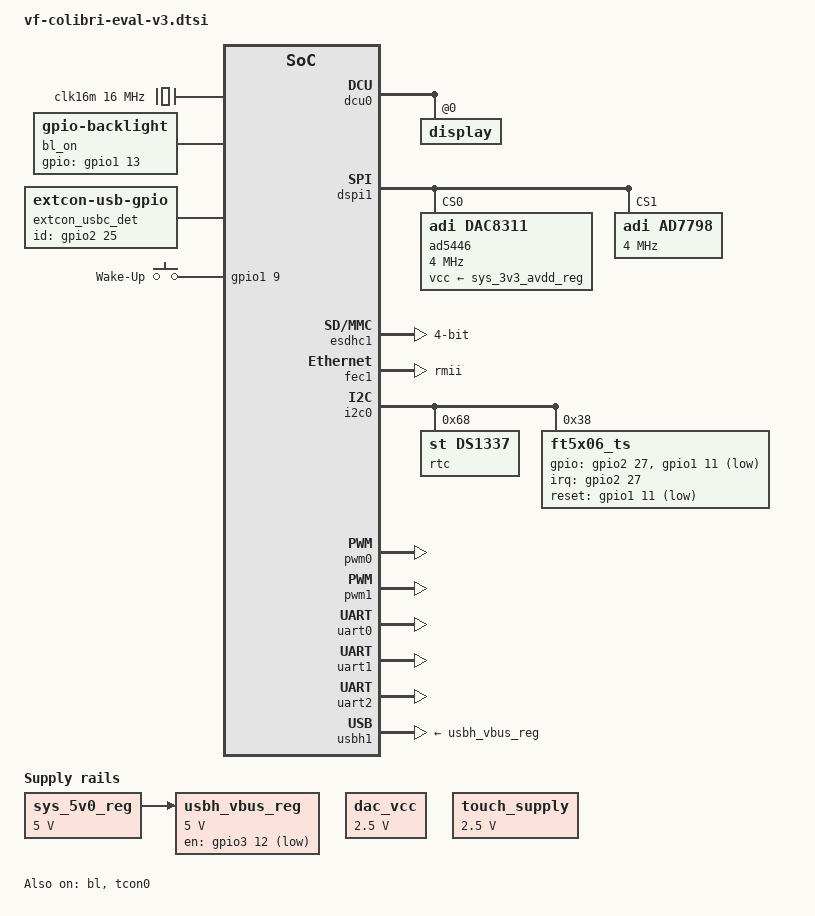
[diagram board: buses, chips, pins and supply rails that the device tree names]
/*
 * Copyright 2014-2015 Toradex AG
 *
 * This program is free software; you can redistribute it and/or modify
 * it under the terms of the GNU General Public License as published by
 * the Free Software Foundation; either version 2 of the License, or
 * (at your option) any later version.
 * last change by P Grosshart 9/25 
*/

#include <dt-bindings/input/input.h>

/ {
	chosen {
		bootargs = "console=ttyLP0,115200";
		stdout-path = "serial0:115200n8";
	};

	clk16m: clk16m {
		compatible = "fixed-clock";
		#clock-cells = <0>;
		clock-frequency = <16000000>;
	};

	bl_on {
		pinctrl-names = "default";
		pinctrl-0 = <&pinctrl_gpio_bl_on>;
		compatible = "gpio-backlight";
		gpios = <&gpio1 13 GPIO_ACTIVE_HIGH>;
		default-on;
	};

	extcon_usbc_det: usbc_det {
		compatible = "linux,extcon-usb-gpio";
		debounce = <25>;
#if 0
		id-gpio = <&gpio3 6 GPIO_ACTIVE_HIGH>;
#else		
		id-gpio = <&gpio2 25 GPIO_ACTIVE_HIGH>; /*SODIMM_133*/
#endif 	
		pinctrl-names = "default";
		/*pinctrl-0 = <&pinctrl_usbc_det>;*/
	};

	regulators {
		sys_5v0_reg: regulator@0 {
			compatible = "regulator-fixed";
			reg = <0>;
			regulator-name = "5v0";
			regulator-min-microvolt = <5000000>;
			regulator-max-microvolt = <5000000>;
			regulator-always-on;
		};

		/* USBH_PEN */
								 
		usbh_vbus_reg: regulator@1 {
#if 1
			compatible = "regulator-fixed";
			pinctrl-names = "default";
			pinctrl-0 = <&pinctrl_usbh1_reg>;
			reg = <1>;
			regulator-name = "usbh_vbus";
			regulator-min-microvolt = <5000000>;
			regulator-max-microvolt = <5000000>;
			gpio = <&gpio3 12 GPIO_ACTIVE_HIGH>;
			vin-supply = <&sys_5v0_reg>;
#endif 
		};
		/*DAC8311 regulator*/	
		dac_vcc: fixedregulator@1 {
		      compatible = "regulator-fixed";
		      regulator-name = "fixed-supply";
		      regulator-min-microvolt = <2500000>;
		      regulator-max-microvolt = <2500000>;
		      regulator-always-on;
		       };
		touch_supply: fixedregulator@1 {
		      compatible = "regulator-fixed";
		      regulator-name = "fixed-supply";
		      regulator-min-microvolt = <2500000>;
		      regulator-max-microvolt = <2500000>;
		      regulator-always-on;
		       };
									
							 
	};

	gpio-keys {
		compatible = "gpio-keys";
		pinctrl-names = "default";
		pinctrl-0 = <&pinctrl_gpiokeys>;

		power {
			label = "Wake-Up";
			gpios = <&gpio1 9 GPIO_ACTIVE_HIGH>;
			linux,code = <KEY_WAKEUP>;
			debounce-interval = <10>;
			gpio-key,wakeup;
		};
	};
};

&bl {
	/*brightness-levels = <0 4 8 16 32 64 128 255>;*/
	max-brightness = <250>;
	/* default-brightness-level = <20>; */
	default-brightness-level = <25>; /* changed by Paul G 4/26/2017 */
	/*default-brightness-level = <8>; */ /* changed by Paul G 4/26/2017 */
/*	pwms = <&pwm0 0 50000 0>;*/
	pwms = <&pwm0 0 1250 0>;
	/*pwms = <&pwm0 0 100000 0>;*/
	status  = "okay";
};

&dcu0 {
	pinctrl-names = "default";
	pinctrl-0 = <&pinctrl_dcu0_1>;
	
	display = <&display>;
	status = "okay";

	display: display@0 {
		bits-per-pixel = <16>;

		display-timings {
			native-mode = <&timing_vga>;
			/* WVGA Timing, TouchRevolution Fusion 7" */
			timing_wvga2: 800x480pixclkact {
				clock-frequency = <11000000>;
				hactive = <800>;
				vactive = <600>;
				hback-porch = <216>;
				hfront-porch = <40>;
				vback-porch = <35>;
				vfront-porch = <10>;
				hsync-len = <128>;
				vsync-len = <2>;
				hsync-active = <0>;
				vsync-active = <0>;
				pixelclk-active = <1>;
			};
			/* Standard VGA timing */
			timing_vga: 640x480 {
				clock-frequency = <25175000>;
				hactive = <640>;
				vactive = <480>;
				hback-porch = <40>;
				hfront-porch = <24>;
				vback-porch = <32>;
				vfront-porch = <11>;
				hsync-len = <96>;
				vsync-len = <2>;
				hsync-active = <0>;
				vsync-active = <0>;
				pixelclk-active = <0>;
			};
			/* new settings - Setra Display */
			/* WVGA Timing, e.g. EDT ET070080DH6 */
			timing_wvga: 800x480 {
				clock-frequency = <33000000>;
				hactive = <800>;
				vactive = <480>;
				hback-porch = <216>;
				hfront-porch = <40>;
				vback-porch = <35>;
				vfront-porch = <10>;
				hsync-len = <128>;
				vsync-len = <2>;
				hsync-active = <0>;
				vsync-active = <0>;
				pixelclk-active = <0>;
			};
			/* Standard SVGA timing */
			timing_svga: 800x600 {
				clock-frequency = <40000000>;
				hactive = <800>;
				vactive = <600>;
				hback-porch = <88>;
				hfront-porch = <40>;
				vback-porch = <23>;
				vfront-porch = <1>;
				hsync-len = <128>;
				vsync-len = <4>;
				hsync-active = <1>;
				vsync-active = <1>;
				pixelclk-active = <0>;
			};
			/* TouchRevolution Fusion 10"/CLAA101NC05 10.1 inch */
			timing_wsvga: 1024x600 {
				clock-frequency = <48000000>;
				hactive = <1024>;
				vactive = <600>;
				hback-porch = <104>;
				hfront-porch = <43>;
				vback-porch = <24>;
				vfront-porch = <20>;
				hsync-len = <5>;
				vsync-len = <5>;
				hsync-active = <0>;
				vsync-active = <0>;
				pixelclk-active = <0>;
			};
			/* Standard XGA timing */
			timing_xga: 1024x768 {
				clock-frequency = <65000000>;
				hactive = <1024>;
				vactive = <768>;
				hback-porch = <160>;
				hfront-porch = <24>;
				vback-porch = <29>;
				vfront-porch = <3>;
				hsync-len = <136>;
				vsync-len = <6>;
				hsync-active = <0>;
				vsync-active = <0>;
				pixelclk-active = <0>;
			};
		};
	};
};

/*Kiran Bhosale  addition of Device tree nodes for  AD7798 ADC & DAC8311 DAC*/
&dspi1 {
	status = "okay";
   ad5446@0 {
		 compatible = "adi,dac8311";
		 reg = <0>;
		 spi-max-frequency = <4000000>; /*5 MHz Clock */
		 /*spi-max-frequency = <25000000>; /*25 MHz Clock */
		 spi-cpha; /*This is  required by the DAC311 is CPOL = 0 & CPHASE =1 */
		 vcc-supply = <&sys_3v3_avdd_reg>;
	 };
ad7798: ad@1 {
		compatible = "adi,ad7798";
		pinctrl-names = "default";
		/*pinctrl-0 = <&pinctrl_can_int>;*/
		reg = <1>;
		clocks = <&clk16m>;
		spi-max-frequency = <4000000>; /*5  MHz ADC maximum supported is 50 Mhz  */
		/*spi-max-frequency = <5000000>; /*25  MHz ADC maximum supported is 50 Mhz  */
		/*interrupt-parent = <&gpio1>;*/
   spi-cpol; /*This is  required by the AD7798* i.e CPOL = 1 CPHASE = 1*/
   spi-cpha; 
		/*interrupts = <12 GPIO_ACTIVE_LOW>;*/
	};
};

&esdhc1 {
	pinctrl-names = "default";
	pinctrl-0 = <&pinctrl_esdhc1>;
	bus-width = <4>;
	status = "okay";
};

&fec1 {
	phy-mode = "rmii";
	pinctrl-names = "default";
	pinctrl-0 = <&pinctrl_fec1>;
	status = "okay";
};

&i2c0 {
	status = "okay";
/***** change to DS 1337 on target board - PGrosshart 4-26-2017 ****/
 	 rtc: ds1337 {
   	 compatible = "st,ds1337";
    	reg = <0x68>; /* what is this? */
 	 };  

	/* M41T0M6 real time clock on carrier board */
/* 	 rtc: m41t0m6@68 {
   	 compatible = "st,m41t00";
    	reg = <0x68>;
 	 };  */
	/* TouchRevolution Fusion 7 and 10 multi-touch controller */
#if 0
	touch: touchrevf0710a@10 {
		compatible = "touchrevolution,fusion-f0710a";
		pinctrl-names = "default";
		pinctrl-0 = <&pinctrl_gpiotouch>;
		reg = <0x10>;
		/* SODIMM 28, Pen down interrupt */
		gpios = <&gpio0 30 GPIO_ACTIVE_HIGH
		/* SODIMM 30, Reset interrupt */
			 &gpio0 23 GPIO_ACTIVE_LOW
			>;	
		status = "okay";
	};
	#else						  /*Kiran Bhosale :Device tree Node for Focaltech FT5X26 touch controller  */
		ft5x06_ts@38 {
			compatible = "ft5x06_ts";
			reg = <0x38>;
			pinctrl-names = "default";		
		pinctrl-0 = <&pinctrl_gpiofocalech>;
		gpios = <&gpio2 27 GPIO_ACTIVE_HIGH
		/* SODIMM 30, Reset interrupt */
			 &gpio1 11 GPIO_ACTIVE_LOW
			>;	
			focaltech,irq-gpio = <&gpio2 27 GPIO_ACTIVE_HIGH>;  /*Kiran Bhosale : changed GPIOs acording to Schematic */
			focaltech,reset-gpio = <&gpio1 11 GPIO_ACTIVE_LOW>;			
			focaltech,panel-coords = <0 0 480 800>;
			focaltech,display-coords = <0 0 480 800>;
			focaltech,button-map= <158 102 139 217>;
			focaltech,family-id = <0x0a>;
			status = "okay";
		};
#endif 
	

	
};

&pwm0 {
	status = "okay";
	 pinctrl-0 = <&pinctrl_pwm0_a>;
};

&pwm1 {
	status = "okay";
  pinctrl-0 = <&pinctrl_pwm1_d>;
};

&tcon0 {
	status = "okay";
};

&uart0 {
	status = "okay";
};

&uart1 {
	status = "okay";
};

&uart2 {
	status = "okay";
	linux,rs485-enabled-at-boot-time;
/*	rs485-rts-active-low; */
};

&usbdev0 {
	extcon = <&extcon_usbc_det>;
};

&usbh1 {
	vbus-supply = <&usbh_vbus_reg>;
};

&iomuxc {
	vf610-colibri {
			pinctrl_can_int: can_int {
			fsl,pins = <
				/*VF610_PAD_PTB21__GPIO_43	0x22ed  */
				/* PTC1 -> 46 */
				VF610_PAD_PTC1__GPIO_46  0x22ed
				>;
		};

		pinctrl_gpiokeys: gpiokeys {
			fsl,pins = <
				VF610_PAD_PTB19__GPIO_41	0x218d
			>;
		};

		pinctrl_gpiotouch: touchgpios {
			fsl,pins = <
				VF610_PAD_PTB8__GPIO_30		0x6f
				VF610_PAD_PTB1__GPIO_23		0x4f
			>;
		};
		pinctrl_gpiofocalech: touchgpios {
			fsl,pins = <
				VF610_PAD_PTB21__GPIO_43  0x6f
				VF610_PAD_PTD12__GPIO_91	0x6f
			>;
		};
		
	};
};
